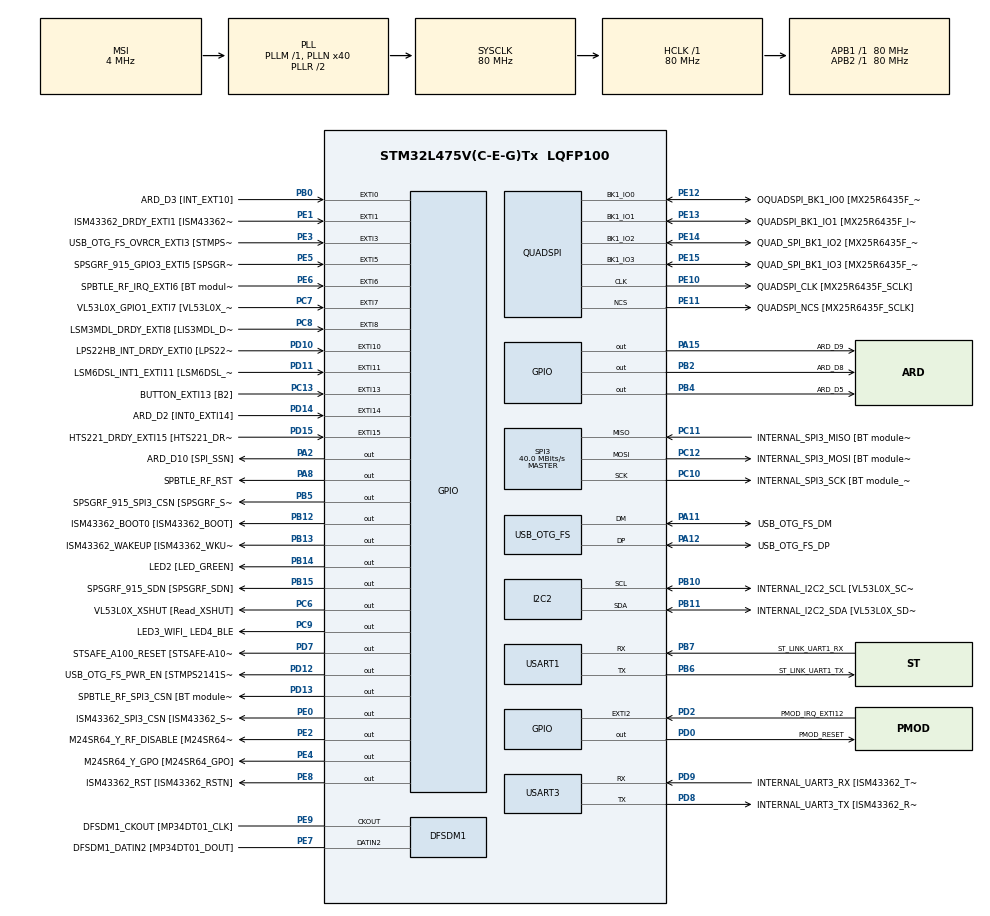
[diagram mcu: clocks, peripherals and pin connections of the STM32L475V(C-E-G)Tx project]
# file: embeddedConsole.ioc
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Mcu.Family=STM32L4
Mcu.Name=STM32L475V(C-E-G)Tx
Mcu.Package=LQFP100
NVIC.EXTI15_10_IRQn=true\:0\:0\:false\:false\:true\:true\:true
NVIC.EXTI9_5_IRQn=true\:0\:0\:false\:false\:true\:true\:true
NVIC.PriorityGroup=NVIC_PRIORITYGROUP_4
PA0.GPIO_Label=ARD_D1 [UART4_TX]
PA0.Signal=UART4_TX
PA1.GPIO_Label=ARD_D0 [UART4_RX]
PA1.Signal=UART4_RX
PA10.GPIO_Label=USB_OTG_FS_ID
PA10.Signal=USB_OTG_FS_ID
PA11.GPIO_Label=USB_OTG_FS_DM
PA11.Mode=Device_Only
PA11.Signal=USB_OTG_FS_DM
PA12.GPIO_Label=USB_OTG_FS_DP
PA12.Mode=Device_Only
PA12.Signal=USB_OTG_FS_DP
PA13\ (JTMS-SWDIO).GPIO_Label=SYS_JTMS_SWDIO
PA13\ (JTMS-SWDIO).Mode=Serial_Wire
PA13\ (JTMS-SWDIO).Signal=SYS_JTMS-SWDIO
PA14\ (JTCK-SWCLK).GPIO_Label=SYS_JTCK_SWCLK
PA14\ (JTCK-SWCLK).Mode=Serial_Wire
PA14\ (JTCK-SWCLK).Signal=SYS_JTCK-SWCLK
PA15\ (JTDI).GPIO_Label=ARD_D9
PA15\ (JTDI).Signal=GPIO_Output
PA2.GPIO_Label=ARD_D10 [SPI_SSN]
PA2.Signal=GPIO_Output
PA3.GPIO_Label=ARD_D4
PA3.Signal=S_TIM2_CH4
PA4.GPIO_Label=ARD_D7
PA4.Signal=ADCx_IN9
PA5.GPIO_Label=ARD_D13 [SPI1_SCK]
PA5.Signal=SPI1_SCK
PA6.GPIO_Label=ARD_D12 [SPI1_MISO]
PA6.Signal=SPI1_MISO
PA7.GPIO_Label=ARD_D11 [SPI1_MOSI]
PA7.Signal=SPI1_MOSI
PA8.GPIO_Label=SPBTLE_RF_RST
PA8.Signal=GPIO_Output
PA9.GPIO_Label=USB_OTG_FS_VBUS [STMPS2141STR_OUT]
PA9.Signal=USB_OTG_FS_VBUS
PB0.GPIO_Label=ARD_D3 [INT_EXT10]
PB0.Signal=GPXTI0
PB1.GPIO_Label=ARD_D6 [ADC1_IN6]
PB1.Signal=ADCx_IN16
PB10.GPIO_Label=INTERNAL_I2C2_SCL [VL53L0X_SCL]
PB10.Mode=I2C
PB10.Signal=I2C2_SCL
PB11.GPIO_Label=INTERNAL_I2C2_SDA [VL53L0X_SDA]
PB11.Mode=I2C
PB11.Signal=I2C2_SDA
PB12.GPIO_Label=ISM43362_BOOT0 [ISM43362_BOOT]
PB12.Signal=GPIO_Output
PB13.GPIO_Label=ISM43362_WAKEUP [ISM43362_WKUP]
PB13.Signal=GPIO_Output
PB14.GPIO_Label=LED2 [LED_GREEN]
PB14.Signal=GPIO_Output
PB15.GPIO_Label=SPSGRF_915_SDN [SPSGRF_SDN]
PB15.Signal=GPIO_Output
PB2.GPIO_Label=ARD_D8
PB2.Signal=GPIO_Output
PB3\ (JTDO-TRACESWO).GPIO_Label=SYS_JTD0_SWO
PB3\ (JTDO-TRACESWO).Signal=SYS_JTDO-SWO
PB4\ (NJTRST).GPIO_Label=ARD_D5
PB4\ (NJTRST).Signal=GPIO_Output
PB5.GPIO_Label=SPSGRF_915_SPI3_CSN [SPSGRF_SPI_CS]
PB5.PinState=GPIO_PIN_SET
PB5.Signal=GPIO_Output
PB6.GPIO_Label=ST_LINK_UART1_TX
PB6.Mode=Asynchronous
PB6.Signal=USART1_TX
PB7.GPIO_Label=ST_LINK_UART1_RX
PB7.Mode=Asynchronous
PB7.Signal=USART1_RX
PB8.GPIO_Label=ARD_D15 [I2C1_SCL]
PB8.Signal=I2C1_SCL
PB9.GPIO_Label=ARD_D14 [I2C1_SDA]
PB9.Signal=I2C1_SDA
PC0.GPIO_Label=ARD_A5 [ADC]
PC0.Signal=ADCx_IN1
PC1.GPIO_Label=ARD_A4 [ADC]
PC1.Signal=ADCx_IN2
PC10.GPIO_Label=INTERNAL_SPI3_SCK [BT module_SPI_SCLK]
PC10.Mode=Full_Duplex_Master
PC10.Signal=SPI3_SCK
PC11.GPIO_Label=INTERNAL_SPI3_MISO [BT module_SPI_MISO]
PC11.Mode=Full_Duplex_Master
PC11.Signal=SPI3_MISO
PC12.GPIO_Label=INTERNAL_SPI3_MOSI [BT module_SPI_MOSI]
PC12.Mode=Full_Duplex_Master
PC12.Signal=SPI3_MOSI
PC13.GPIO_Label=BUTTON_EXTI13 [B2]
PC13.GPIO_ModeDefaultEXTI=GPIO_MODE_IT_FALLING
PC13.Signal=GPXTI13
PC14-OSC32_IN\ (PC14).Mode=LSE-External-Oscillator
PC14-OSC32_IN\ (PC14).Signal=RCC_OSC32_IN
PC15-OSC32_OUT\ (PC15).Mode=LSE-External-Oscillator
PC15-OSC32_OUT\ (PC15).Signal=RCC_OSC32_OUT
PC2.GPIO_Label=ARD_A3 [ADC]
PC2.Signal=ADCx_IN3
PC3.GPIO_Label=ARD_A2 [ADC]
PC3.Signal=ADCx_IN4
PC4.GPIO_Label=ARD_A1 [ADC]
PC4.Signal=ADCx_IN13
PC5.GPIO_Label=ARD_A0 [ADC]
PC5.Signal=ADCx_IN14
PC6.GPIO_Label=VL53L0X_XSHUT [Read_XSHUT]
PC6.Signal=GPIO_Output
PC7.GPIO_Label=VL53L0X_GPIO1_EXTI7 [VL53L0X_GPIO1]
PC7.Signal=GPXTI7
PC8.GPIO_Label=LSM3MDL_DRDY_EXTI8 [LIS3MDL_DRDY]
PC8.Signal=GPXTI8
PC9.GPIO_Label=LED3_WIFI_ LED4_BLE
PC9.Signal=GPIO_Output
PD0.GPIO_Label=PMOD_RESET
PD0.Signal=GPIO_Output
PD1.GPIO_Label=PMOD_SPI2_SCK
PD1.Signal=SPI2_SCK
PD10.GPIO_Label=LPS22HB_INT_DRDY_EXTI0 [LPS22HB_INT_DRDY] 
PD10.Signal=GPXTI10
PD11.GPIO_Label=LSM6DSL_INT1_EXTI11 [LSM6DSL_INT1]
PD11.Signal=GPXTI11
PD12.GPIO_Label=USB_OTG_FS_PWR_EN [STMPS2141STR_EN]
PD12.Signal=GPIO_Output
PD13.GPIO_Label=SPBTLE_RF_SPI3_CSN [BT module_SPI_CS]
PD13.PinState=GPIO_PIN_SET
PD13.Signal=GPIO_Output
PD14.GPIO_Label=ARD_D2 [INT0_EXTI14]
PD14.Signal=GPXTI14
PD15.GPIO_Label=HTS221_DRDY_EXTI15 [HTS221_DRDY]
PD15.Signal=GPXTI15
PD2.GPIO_Label=PMOD_IRQ_EXTI12
PD2.Signal=GPXTI2
PD3.GPIO_Label=PMOD_UART2_CTS
PD3.Signal=USART2_CTS
PD4.GPIO_Label=PMOD_UART2_RTS
PD4.Signal=USART2_RTS
PD5.GPIO_Label=PMOD_UART2_TX
PD5.Signal=USART2_TX
PD6.GPIO_Label=PMOD_UART2_RX
PD6.Signal=USART2_RX
PD7.GPIO_Label=STSAFE_A100_RESET [STSAFE-A100_RESET]
PD7.Signal=GPIO_Output
PD8.GPIO_Label=INTERNAL_UART3_TX [ISM43362_RX]
PD8.Mode=Asynchronous
PD8.Signal=USART3_TX
PD9.GPIO_Label=INTERNAL_UART3_RX [ISM43362_TX]
PD9.Mode=Asynchronous
PD9.Signal=USART3_RX
PE0.GPIO_Label=ISM43362_SPI3_CSN [ISM43362_SSN]
PE0.PinState=GPIO_PIN_SET
PE0.Signal=GPIO_Output
PE1.GPIO_Label=ISM43362_DRDY_EXTI1 [ISM43362_DATARDY]
PE1.Signal=GPXTI1
PE10.GPIO_Label=QUADSPI_CLK [MX25R6435F_SCLK]
PE10.Mode=Single Bank
PE10.Signal=QUADSPI_CLK
PE11.GPIO_Label=QUADSPI_NCS [MX25R6435F_SCLK]
PE11.Mode=Single Bank
PE11.Signal=QUADSPI_NCS
PE12.GPIO_Label=OQUADSPI_BK1_IO0 [MX25R6435F_IO0]
PE12.Mode=Single Bank
PE12.Signal=QUADSPI_BK1_IO0
PE13.GPIO_Label=QUADSPI_BK1_IO1 [MX25R6435F_IO1]
PE13.Mode=Single Bank
PE13.Signal=QUADSPI_BK1_IO1
PE14.GPIO_Label=QUAD_SPI_BK1_IO2 [MX25R6435F_IO2]
PE14.Mode=Single Bank
PE14.Signal=QUADSPI_BK1_IO2
PE15.GPIO_Label=QUAD_SPI_BK1_IO3 [MX25R6435F_IO3]
PE15.Mode=Single Bank
PE15.Signal=QUADSPI_BK1_IO3
PE2.GPIO_Label=M24SR64_Y_RF_DISABLE [M24SR64_RFDIS]
PE2.Signal=GPIO_Output
PE3.GPIO_Label=USB_OTG_FS_OVRCR_EXTI3 [STMPS2141STR_FAULT]
PE3.Signal=GPXTI3
PE4.GPIO_Label=M24SR64_Y_GPO [M24SR64_GPO]
PE4.Signal=GPIO_Output
PE5.GPIO_Label=SPSGRF_915_GPIO3_EXTI5 [SPSGRF_GPIO_3]
PE5.Signal=GPXTI5
PE6.GPIO_Label=SPBTLE_RF_IRQ_EXTI6 [BT module_SPI_IRQ]
PE6.Signal=GPXTI6
PE7.GPIO_Label=DFSDM1_DATIN2 [MP34DT01_DOUT]
PE7.Signal=S_DATAIN2DFSDM1
PE8.GPIO_Label=ISM43362_RST [ISM43362_RSTN]
PE8.Signal=GPIO_Output
PE9.GPIO_Label=DFSDM1_CKOUT [MP34DT01_CLK]
PE9.Signal=S_CKOUTDFSDM1
ProjectManager.HeapSize=0x200
ProjectManager.StackSize=0x400
ProjectManager.TargetToolchain=STM32CubeIDE
RCC.ADCFreq_Value=48000000
RCC.AHBFreq_Value=80000000
RCC.APB1Freq_Value=80000000
RCC.APB1TimFreq_Value=80000000
RCC.APB2Freq_Value=80000000
RCC.APB2TimFreq_Value=80000000
RCC.CortexFreq_Value=80000000
RCC.HCLKFreq_Value=80000000
RCC.HSE_VALUE=8000000
RCC.HSI_VALUE=16000000
RCC.MSI_VALUE=4000000
RCC.PLLN=40
RCC.PLLSAI1N=24
RCC.SYSCLKFreq_VALUE=80000000
RCC.SYSCLKSource=RCC_SYSCLKSOURCE_PLLCLK
RCC.USBFreq_Value=48000000
RCC.VCOOutputFreq_Value=160000000
SH.ADCx_IN1.0=ADC1_IN1
SH.ADCx_IN13.0=ADC1_IN13
SH.ADCx_IN14.0=ADC1_IN14
SH.ADCx_IN16.0=ADC1_IN16
SH.ADCx_IN2.0=ADC1_IN2
SH.ADCx_IN3.0=ADC1_IN3
SH.ADCx_IN4.0=ADC1_IN4
SH.ADCx_IN9.0=ADC1_IN9
SH.S_CKOUTDFSDM1.0=DFSDM1_CKOUT,CKOUT
SH.S_CKOUTDFSDM1.1=DFSDM1_CKOUT,PDM_SPI_Input_from_ch12_and_Internal_Clock
SH.S_DATAIN2DFSDM1.0=DFSDM1_DATIN2,PDM_SPI_Input_from_ch12_and_Internal_Clock
SH.S_TIM2_CH4.0=TIM2_CH4
SPI3.CalculateBaudRate=40.0 MBits/s
SPI3.Direction=SPI_DIRECTION_2LINES
SPI3.Mode=SPI_MODE_MASTER
SPI3.VirtualType=VM_MASTER
USART1.VirtualMode-Asynchronous=VM_ASYNC
USART3.VirtualMode-Asynchronous=VM_ASYNC
USB_OTG_FS.VirtualMode=Device_Only
board=B-L475E-IOT01A

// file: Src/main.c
/* USER CODE BEGIN Header */
/**
  ******************************************************************************
  * @file           : main.c
  * @brief          : Main program body
  ******************************************************************************
  * @attention
  *
  * <h2><center>&copy; Copyright (c) 2019 STMicroelectronics.
  * All rights reserved.</center></h2>
  *
  * This software component is licensed by ST under BSD 3-Clause license,
  * the "License"; You may not use this file except in compliance with the
  * License. You may obtain a copy of the License at:
  *                        opensource.org/licenses/BSD-3-Clause
  *
  ******************************************************************************
  */
/* USER CODE END Header */

#include "main.h"

/* USER CODE BEGIN Includes */
#include <stdio.h>

/* USER CODE END Includes */

DFSDM_Channel_HandleTypeDef hdfsdm1_channel1;

I2C_HandleTypeDef hi2c2;

QSPI_HandleTypeDef hqspi;

SPI_HandleTypeDef hspi3;

UART_HandleTypeDef huart1;
UART_HandleTypeDef huart3;

PCD_HandleTypeDef hpcd_USB_OTG_FS;

void SystemClock_Config(void);
static void MX_GPIO_Init(void);
static void MX_DFSDM1_Init(void);
static void MX_I2C2_Init(void);
static void MX_QUADSPI_Init(void);
static void MX_SPI3_Init(void);
static void MX_USART1_UART_Init(void);
static void MX_USART3_UART_Init(void);
static void MX_USB_OTG_FS_PCD_Init(void);

int main(void)
{

  /* MCU Configuration--------------------------------------------------------*/

  /* Reset of all peripherals, Initializes the Flash interface and the Systick. */
  HAL_Init();

  /* Configure the system clock */
  SystemClock_Config();

  /* Initialize all configured peripherals */
  MX_GPIO_Init();
  MX_DFSDM1_Init();
  MX_I2C2_Init();
  MX_QUADSPI_Init();
  MX_SPI3_Init();
  MX_USART1_UART_Init();
  MX_USART3_UART_Init();
  MX_USB_OTG_FS_PCD_Init();

  /* Infinite loop */
  /* USER CODE BEGIN WHILE */
  while (1)
  {
	  // Prompt for input
	  printf("\nEnter number of times to toggle LED: ");

	  // Get the input
	  int count;
	  scanf("%d", &count);

	  //Toggle the LED
	  count *= 2;  //double count to that LED toggles ON then OFF
	  for(int i=0;i<count;i++) {
		  HAL_GPIO_TogglePin(LED2_GPIO_Port , LED2_Pin);
		  HAL_Delay(1000);
	  }

	/* USER CODE END WHILE */

  }
}

void SystemClock_Config(void)
{
  RCC_OscInitTypeDef RCC_OscInitStruct = {0};
  RCC_ClkInitTypeDef RCC_ClkInitStruct = {0};
  RCC_PeriphCLKInitTypeDef PeriphClkInit = {0};

  /** Configure LSE Drive Capability
  */
  HAL_PWR_EnableBkUpAccess();
  __HAL_RCC_LSEDRIVE_CONFIG(RCC_LSEDRIVE_LOW);
  /** Initializes the CPU, AHB and APB busses clocks
  */
  RCC_OscInitStruct.OscillatorType = RCC_OSCILLATORTYPE_LSE|RCC_OSCILLATORTYPE_MSI;
  RCC_OscInitStruct.LSEState = RCC_LSE_ON;
  RCC_OscInitStruct.MSIState = RCC_MSI_ON;
  RCC_OscInitStruct.MSICalibrationValue = 0;
  RCC_OscInitStruct.MSIClockRange = RCC_MSIRANGE_6;
  RCC_OscInitStruct.PLL.PLLState = RCC_PLL_ON;
  RCC_OscInitStruct.PLL.PLLSource = RCC_PLLSOURCE_MSI;
  RCC_OscInitStruct.PLL.PLLM = 1;
  RCC_OscInitStruct.PLL.PLLN = 40;
  RCC_OscInitStruct.PLL.PLLP = RCC_PLLP_DIV7;
  RCC_OscInitStruct.PLL.PLLQ = RCC_PLLQ_DIV2;
  RCC_OscInitStruct.PLL.PLLR = RCC_PLLR_DIV2;
  if (HAL_RCC_OscConfig(&RCC_OscInitStruct) != HAL_OK)
  {
    Error_Handler();
  }
  /** Initializes the CPU, AHB and APB busses clocks
  */
  RCC_ClkInitStruct.ClockType = RCC_CLOCKTYPE_HCLK|RCC_CLOCKTYPE_SYSCLK
                              |RCC_CLOCKTYPE_PCLK1|RCC_CLOCKTYPE_PCLK2;
  RCC_ClkInitStruct.SYSCLKSource = RCC_SYSCLKSOURCE_PLLCLK;
  RCC_ClkInitStruct.AHBCLKDivider = RCC_SYSCLK_DIV1;
  RCC_ClkInitStruct.APB1CLKDivider = RCC_HCLK_DIV1;
  RCC_ClkInitStruct.APB2CLKDivider = RCC_HCLK_DIV1;

  if (HAL_RCC_ClockConfig(&RCC_ClkInitStruct, FLASH_LATENCY_4) != HAL_OK)
  {
    Error_Handler();
  }
  PeriphClkInit.PeriphClockSelection = RCC_PERIPHCLK_USART1|RCC_PERIPHCLK_USART3
                              |RCC_PERIPHCLK_I2C2|RCC_PERIPHCLK_DFSDM1
                              |RCC_PERIPHCLK_USB;
  PeriphClkInit.Usart1ClockSelection = RCC_USART1CLKSOURCE_PCLK2;
  PeriphClkInit.Usart3ClockSelection = RCC_USART3CLKSOURCE_PCLK1;
  PeriphClkInit.I2c2ClockSelection = RCC_I2C2CLKSOURCE_PCLK1;
  PeriphClkInit.Dfsdm1ClockSelection = RCC_DFSDM1CLKSOURCE_PCLK;
  PeriphClkInit.UsbClockSelection = RCC_USBCLKSOURCE_PLLSAI1;
  PeriphClkInit.PLLSAI1.PLLSAI1Source = RCC_PLLSOURCE_MSI;
  PeriphClkInit.PLLSAI1.PLLSAI1M = 1;
  PeriphClkInit.PLLSAI1.PLLSAI1N = 24;
  PeriphClkInit.PLLSAI1.PLLSAI1P = RCC_PLLP_DIV7;
  PeriphClkInit.PLLSAI1.PLLSAI1Q = RCC_PLLQ_DIV2;
  PeriphClkInit.PLLSAI1.PLLSAI1R = RCC_PLLR_DIV2;
  PeriphClkInit.PLLSAI1.PLLSAI1ClockOut = RCC_PLLSAI1_48M2CLK;
  if (HAL_RCCEx_PeriphCLKConfig(&PeriphClkInit) != HAL_OK)
  {
    Error_Handler();
  }
  /** Configure the main internal regulator output voltage
  */
  if (HAL_PWREx_ControlVoltageScaling(PWR_REGULATOR_VOLTAGE_SCALE1) != HAL_OK)
  {
    Error_Handler();
  }
  /** Enable MSI Auto calibration
  */
  HAL_RCCEx_EnableMSIPLLMode();
}

static void MX_DFSDM1_Init(void)
{

  hdfsdm1_channel1.Instance = DFSDM1_Channel1;
  hdfsdm1_channel1.Init.OutputClock.Activation = ENABLE;
  hdfsdm1_channel1.Init.OutputClock.Selection = DFSDM_CHANNEL_OUTPUT_CLOCK_SYSTEM;
  hdfsdm1_channel1.Init.OutputClock.Divider = 2;
  hdfsdm1_channel1.Init.Input.Multiplexer = DFSDM_CHANNEL_EXTERNAL_INPUTS;
  hdfsdm1_channel1.Init.Input.DataPacking = DFSDM_CHANNEL_STANDARD_MODE;
  hdfsdm1_channel1.Init.Input.Pins = DFSDM_CHANNEL_FOLLOWING_CHANNEL_PINS;
  hdfsdm1_channel1.Init.SerialInterface.Type = DFSDM_CHANNEL_SPI_RISING;
  hdfsdm1_channel1.Init.SerialInterface.SpiClock = DFSDM_CHANNEL_SPI_CLOCK_INTERNAL;
  hdfsdm1_channel1.Init.Awd.FilterOrder = DFSDM_CHANNEL_FASTSINC_ORDER;
  hdfsdm1_channel1.Init.Awd.Oversampling = 1;
  hdfsdm1_channel1.Init.Offset = 0;
  hdfsdm1_channel1.Init.RightBitShift = 0x00;
  if (HAL_DFSDM_ChannelInit(&hdfsdm1_channel1) != HAL_OK)
  {
    Error_Handler();
  }

}

static void MX_I2C2_Init(void)
{

  hi2c2.Instance = I2C2;
  hi2c2.Init.Timing = 0x10909CEC;
  hi2c2.Init.OwnAddress1 = 0;
  hi2c2.Init.AddressingMode = I2C_ADDRESSINGMODE_7BIT;
  hi2c2.Init.DualAddressMode = I2C_DUALADDRESS_DISABLE;
  hi2c2.Init.OwnAddress2 = 0;
  hi2c2.Init.OwnAddress2Masks = I2C_OA2_NOMASK;
  hi2c2.Init.GeneralCallMode = I2C_GENERALCALL_DISABLE;
  hi2c2.Init.NoStretchMode = I2C_NOSTRETCH_DISABLE;
  if (HAL_I2C_Init(&hi2c2) != HAL_OK)
  {
    Error_Handler();
  }
  /** Configure Analogue filter
  */
  if (HAL_I2CEx_ConfigAnalogFilter(&hi2c2, I2C_ANALOGFILTER_ENABLE) != HAL_OK)
  {
    Error_Handler();
  }
  /** Configure Digital filter
  */
  if (HAL_I2CEx_ConfigDigitalFilter(&hi2c2, 0) != HAL_OK)
  {
    Error_Handler();
  }

}

static void MX_QUADSPI_Init(void)
{

  /* QUADSPI parameter configuration*/
  hqspi.Instance = QUADSPI;
  hqspi.Init.ClockPrescaler = 255;
  hqspi.Init.FifoThreshold = 1;
  hqspi.Init.SampleShifting = QSPI_SAMPLE_SHIFTING_NONE;
  hqspi.Init.FlashSize = 1;
  hqspi.Init.ChipSelectHighTime = QSPI_CS_HIGH_TIME_1_CYCLE;
  hqspi.Init.ClockMode = QSPI_CLOCK_MODE_0;
  if (HAL_QSPI_Init(&hqspi) != HAL_OK)
  {
    Error_Handler();
  }

}

static void MX_SPI3_Init(void)
{

  /* SPI3 parameter configuration*/
  hspi3.Instance = SPI3;
  hspi3.Init.Mode = SPI_MODE_MASTER;
  hspi3.Init.Direction = SPI_DIRECTION_2LINES;
  hspi3.Init.DataSize = SPI_DATASIZE_4BIT;
  hspi3.Init.CLKPolarity = SPI_POLARITY_LOW;
  hspi3.Init.CLKPhase = SPI_PHASE_1EDGE;
  hspi3.Init.NSS = SPI_NSS_SOFT;
  hspi3.Init.BaudRatePrescaler = SPI_BAUDRATEPRESCALER_2;
  hspi3.Init.FirstBit = SPI_FIRSTBIT_MSB;
  hspi3.Init.TIMode = SPI_TIMODE_DISABLE;
  hspi3.Init.CRCCalculation = SPI_CRCCALCULATION_DISABLE;
  hspi3.Init.CRCPolynomial = 7;
  hspi3.Init.CRCLength = SPI_CRC_LENGTH_DATASIZE;
  hspi3.Init.NSSPMode = SPI_NSS_PULSE_ENABLE;
  if (HAL_SPI_Init(&hspi3) != HAL_OK)
  {
    Error_Handler();
  }

}

static void MX_USART1_UART_Init(void)
{

  huart1.Instance = USART1;
  huart1.Init.BaudRate = 115200;
  huart1.Init.WordLength = UART_WORDLENGTH_8B;
  huart1.Init.StopBits = UART_STOPBITS_1;
  huart1.Init.Parity = UART_PARITY_NONE;
  huart1.Init.Mode = UART_MODE_TX_RX;
  huart1.Init.HwFlowCtl = UART_HWCONTROL_NONE;
  huart1.Init.OverSampling = UART_OVERSAMPLING_16;
  huart1.Init.OneBitSampling = UART_ONE_BIT_SAMPLE_DISABLE;
  huart1.AdvancedInit.AdvFeatureInit = UART_ADVFEATURE_NO_INIT;
  if (HAL_UART_Init(&huart1) != HAL_OK)
  {
    Error_Handler();
  }

}

static void MX_USART3_UART_Init(void)
{

  huart3.Instance = USART3;
  huart3.Init.BaudRate = 115200;
  huart3.Init.WordLength = UART_WORDLENGTH_8B;
  huart3.Init.StopBits = UART_STOPBITS_1;
  huart3.Init.Parity = UART_PARITY_NONE;
  huart3.Init.Mode = UART_MODE_TX_RX;
  huart3.Init.HwFlowCtl = UART_HWCONTROL_NONE;
  huart3.Init.OverSampling = UART_OVERSAMPLING_16;
  huart3.Init.OneBitSampling = UART_ONE_BIT_SAMPLE_DISABLE;
  huart3.AdvancedInit.AdvFeatureInit = UART_ADVFEATURE_NO_INIT;
  if (HAL_UART_Init(&huart3) != HAL_OK)
  {
    Error_Handler();
  }

}

static void MX_USB_OTG_FS_PCD_Init(void)
{

  hpcd_USB_OTG_FS.Instance = USB_OTG_FS;
  hpcd_USB_OTG_FS.Init.dev_endpoints = 6;
  hpcd_USB_OTG_FS.Init.speed = PCD_SPEED_FULL;
  hpcd_USB_OTG_FS.Init.phy_itface = PCD_PHY_EMBEDDED;
  hpcd_USB_OTG_FS.Init.Sof_enable = DISABLE;
  hpcd_USB_OTG_FS.Init.low_power_enable = DISABLE;
  hpcd_USB_OTG_FS.Init.lpm_enable = DISABLE;
  hpcd_USB_OTG_FS.Init.battery_charging_enable = DISABLE;
  hpcd_USB_OTG_FS.Init.use_dedicated_ep1 = DISABLE;
  hpcd_USB_OTG_FS.Init.vbus_sensing_enable = DISABLE;
  if (HAL_PCD_Init(&hpcd_USB_OTG_FS) != HAL_OK)
  {
    Error_Handler();
  }

}

static void MX_GPIO_Init(void)
{
  GPIO_InitTypeDef GPIO_InitStruct = {0};

  /* GPIO Ports Clock Enable */
  __HAL_RCC_GPIOE_CLK_ENABLE();
  __HAL_RCC_GPIOC_CLK_ENABLE();
  __HAL_RCC_GPIOA_CLK_ENABLE();
  __HAL_RCC_GPIOB_CLK_ENABLE();
  __HAL_RCC_GPIOD_CLK_ENABLE();

  /*Configure GPIO pin Output Level */
  HAL_GPIO_WritePin(GPIOE, M24SR64_Y_RF_DISABLE_Pin|M24SR64_Y_GPO_Pin|ISM43362_RST_Pin, GPIO_PIN_RESET);

  /*Configure GPIO pin Output Level */
  HAL_GPIO_WritePin(GPIOA, ARD_D10_Pin|SPBTLE_RF_RST_Pin|ARD_D9_Pin, GPIO_PIN_RESET);

  /*Configure GPIO pin Output Level */
  HAL_GPIO_WritePin(GPIOB, ARD_D8_Pin|ISM43362_BOOT0_Pin|ISM43362_WAKEUP_Pin|LED2_Pin
                          |SPSGRF_915_SDN_Pin|ARD_D5_Pin, GPIO_PIN_RESET);

  /*Configure GPIO pin Output Level */
  HAL_GPIO_WritePin(GPIOD, USB_OTG_FS_PWR_EN_Pin|PMOD_RESET_Pin|STSAFE_A100_RESET_Pin, GPIO_PIN_RESET);

  /*Configure GPIO pin Output Level */
  HAL_GPIO_WritePin(SPBTLE_RF_SPI3_CSN_GPIO_Port, SPBTLE_RF_SPI3_CSN_Pin, GPIO_PIN_SET);

  /*Configure GPIO pin Output Level */
  HAL_GPIO_WritePin(GPIOC, VL53L0X_XSHUT_Pin|LED3_WIFI__LED4_BLE_Pin, GPIO_PIN_RESET);

  /*Configure GPIO pin Output Level */
  HAL_GPIO_WritePin(SPSGRF_915_SPI3_CSN_GPIO_Port, SPSGRF_915_SPI3_CSN_Pin, GPIO_PIN_SET);

  /*Configure GPIO pin Output Level */
  HAL_GPIO_WritePin(ISM43362_SPI3_CSN_GPIO_Port, ISM43362_SPI3_CSN_Pin, GPIO_PIN_SET);

  /*Configure GPIO pins : M24SR64_Y_RF_DISABLE_Pin M24SR64_Y_GPO_Pin ISM43362_RST_Pin ISM43362_SPI3_CSN_Pin */
  GPIO_InitStruct.Pin = M24SR64_Y_RF_DISABLE_Pin|M24SR64_Y_GPO_Pin|ISM43362_RST_Pin|ISM43362_SPI3_CSN_Pin;
  GPIO_InitStruct.Mode = GPIO_MODE_OUTPUT_PP;
  GPIO_InitStruct.Pull = GPIO_NOPULL;
  GPIO_InitStruct.Speed = GPIO_SPEED_FREQ_LOW;
  HAL_GPIO_Init(GPIOE, &GPIO_InitStruct);

  /*Configure GPIO pins : USB_OTG_FS_OVRCR_EXTI3_Pin SPSGRF_915_GPIO3_EXTI5_Pin SPBTLE_RF_IRQ_EXTI6_Pin ISM43362_DRDY_EXTI1_Pin */
  GPIO_InitStruct.Pin = USB_OTG_FS_OVRCR_EXTI3_Pin|SPSGRF_915_GPIO3_EXTI5_Pin|SPBTLE_RF_IRQ_EXTI6_Pin|ISM43362_DRDY_EXTI1_Pin;
  GPIO_InitStruct.Mode = GPIO_MODE_IT_RISING;
  GPIO_InitStruct.Pull = GPIO_NOPULL;
  HAL_GPIO_Init(GPIOE, &GPIO_InitStruct);

  /*Configure GPIO pin : BUTTON_EXTI13_Pin */
  GPIO_InitStruct.Pin = BUTTON_EXTI13_Pin;
  GPIO_InitStruct.Mode = GPIO_MODE_IT_FALLING;
  GPIO_InitStruct.Pull = GPIO_NOPULL;
  HAL_GPIO_Init(BUTTON_EXTI13_GPIO_Port, &GPIO_InitStruct);

  /*Configure GPIO pins : ARD_A5_Pin ARD_A4_Pin ARD_A3_Pin ARD_A2_Pin
                           ARD_A1_Pin ARD_A0_Pin */
  GPIO_InitStruct.Pin = ARD_A5_Pin|ARD_A4_Pin|ARD_A3_Pin|ARD_A2_Pin
                          |ARD_A1_Pin|ARD_A0_Pin;
  GPIO_InitStruct.Mode = GPIO_MODE_ANALOG_ADC_CONTROL;
  GPIO_InitStruct.Pull = GPIO_NOPULL;
  HAL_GPIO_Init(GPIOC, &GPIO_InitStruct);

  /*Configure GPIO pins : ARD_D1_Pin ARD_D0_Pin */
  GPIO_InitStruct.Pin = ARD_D1_Pin|ARD_D0_Pin;
  GPIO_InitStruct.Mode = GPIO_MODE_AF_PP;
  GPIO_InitStruct.Pull = GPIO_NOPULL;
  GPIO_InitStruct.Speed = GPIO_SPEED_FREQ_VERY_HIGH;
  GPIO_InitStruct.Alternate = GPIO_AF8_UART4;
  HAL_GPIO_Init(GPIOA, &GPIO_InitStruct);

  /*Configure GPIO pins : ARD_D10_Pin SPBTLE_RF_RST_Pin ARD_D9_Pin */
  GPIO_InitStruct.Pin = ARD_D10_Pin|SPBTLE_RF_RST_Pin|ARD_D9_Pin;
  GPIO_InitStruct.Mode = GPIO_MODE_OUTPUT_PP;
  GPIO_InitStruct.Pull = GPIO_NOPULL;
  GPIO_InitStruct.Speed = GPIO_SPEED_FREQ_LOW;
  HAL_GPIO_Init(GPIOA, &GPIO_InitStruct);

  /*Configure GPIO pin : ARD_D4_Pin */
  GPIO_InitStruct.Pin = ARD_D4_Pin;
  GPIO_InitStruct.Mode = GPIO_MODE_AF_PP;
  GPIO_InitStruct.Pull = GPIO_NOPULL;
  GPIO_InitStruct.Speed = GPIO_SPEED_FREQ_LOW;
  GPIO_InitStruct.Alternate = GPIO_AF1_TIM2;
  HAL_GPIO_Init(ARD_D4_GPIO_Port, &GPIO_InitStruct);

  /*Configure GPIO pin : ARD_D7_Pin */
  GPIO_InitStruct.Pin = ARD_D7_Pin;
  GPIO_InitStruct.Mode = GPIO_MODE_ANALOG_ADC_CONTROL;
  GPIO_InitStruct.Pull = GPIO_NOPULL;
  HAL_GPIO_Init(ARD_D7_GPIO_Port, &GPIO_InitStruct);

  /*Configure GPIO pins : ARD_D13_Pin ARD_D12_Pin ARD_D11_Pin */
  GPIO_InitStruct.Pin = ARD_D13_Pin|ARD_D12_Pin|ARD_D11_Pin;
  GPIO_InitStruct.Mode = GPIO_MODE_AF_PP;
  GPIO_InitStruct.Pull = GPIO_NOPULL;
  GPIO_InitStruct.Speed = GPIO_SPEED_FREQ_VERY_HIGH;
  GPIO_InitStruct.Alternate = GPIO_AF5_SPI1;
  HAL_GPIO_Init(GPIOA, &GPIO_InitStruct);

  /*Configure GPIO pin : ARD_D3_Pin */
  GPIO_InitStruct.Pin = ARD_D3_Pin;
  GPIO_InitStruct.Mode = GPIO_MODE_IT_RISING;
  GPIO_InitStruct.Pull = GPIO_NOPULL;
  HAL_GPIO_Init(ARD_D3_GPIO_Port, &GPIO_InitStruct);

  /*Configure GPIO pin : ARD_D6_Pin */
  GPIO_InitStruct.Pin = ARD_D6_Pin;
  GPIO_InitStruct.Mode = GPIO_MODE_ANALOG_ADC_CONTROL;
  GPIO_InitStruct.Pull = GPIO_NOPULL;
  HAL_GPIO_Init(ARD_D6_GPIO_Port, &GPIO_InitStruct);

  /*Configure GPIO pins : ARD_D8_Pin ISM43362_BOOT0_Pin ISM43362_WAKEUP_Pin LED2_Pin
                           SPSGRF_915_SDN_Pin ARD_D5_Pin SPSGRF_915_SPI3_CSN_Pin */
  GPIO_InitStruct.Pin = ARD_D8_Pin|ISM43362_BOOT0_Pin|ISM43362_WAKEUP_Pin|LED2_Pin
                          |SPSGRF_915_SDN_Pin|ARD_D5_Pin|SPSGRF_915_SPI3_CSN_Pin;
  GPIO_InitStruct.Mode = GPIO_MODE_OUTPUT_PP;
  GPIO_InitStruct.Pull = GPIO_NOPULL;
  GPIO_InitStruct.Speed = GPIO_SPEED_FREQ_LOW;
  HAL_GPIO_Init(GPIOB, &GPIO_InitStruct);

  /*Configure GPIO pins : LPS22HB_INT_DRDY_EXTI0_Pin LSM6DSL_INT1_EXTI11_Pin ARD_D2_Pin HTS221_DRDY_EXTI15_Pin
                           PMOD_IRQ_EXTI12_Pin */
  GPIO_InitStruct.Pin = LPS22HB_INT_DRDY_EXTI0_Pin|LSM6DSL_INT1_EXTI11_Pin|ARD_D2_Pin|HTS221_DRDY_EXTI15_Pin
                          |PMOD_IRQ_EXTI12_Pin;
  GPIO_InitStruct.Mode = GPIO_MODE_IT_RISING;
  GPIO_InitStruct.Pull = GPIO_NOPULL;
  HAL_GPIO_Init(GPIOD, &GPIO_InitStruct);

  /*Configure GPIO pins : USB_OTG_FS_PWR_EN_Pin SPBTLE_RF_SPI3_CSN_Pin PMOD_RESET_Pin STSAFE_A100_RESET_Pin */
  GPIO_InitStruct.Pin = USB_OTG_FS_PWR_EN_Pin|SPBTLE_RF_SPI3_CSN_Pin|PMOD_RESET_Pin|STSAFE_A100_RESET_Pin;
  GPIO_InitStruct.Mode = GPIO_MODE_OUTPUT_PP;
  GPIO_InitStruct.Pull = GPIO_NOPULL;
  GPIO_InitStruct.Speed = GPIO_SPEED_FREQ_LOW;
  HAL_GPIO_Init(GPIOD, &GPIO_InitStruct);

  /*Configure GPIO pins : VL53L0X_XSHUT_Pin LED3_WIFI__LED4_BLE_Pin */
  GPIO_InitStruct.Pin = VL53L0X_XSHUT_Pin|LED3_WIFI__LED4_BLE_Pin;
  GPIO_InitStruct.Mode = GPIO_MODE_OUTPUT_PP;
  GPIO_InitStruct.Pull = GPIO_NOPULL;
  GPIO_InitStruct.Speed = GPIO_SPEED_FREQ_LOW;
  HAL_GPIO_Init(GPIOC, &GPIO_InitStruct);

  /*Configure GPIO pins : VL53L0X_GPIO1_EXTI7_Pin LSM3MDL_DRDY_EXTI8_Pin */
  GPIO_InitStruct.Pin = VL53L0X_GPIO1_EXTI7_Pin|LSM3MDL_DRDY_EXTI8_Pin;
  GPIO_InitStruct.Mode = GPIO_MODE_IT_RISING;
  GPIO_InitStruct.Pull = GPIO_NOPULL;
  HAL_GPIO_Init(GPIOC, &GPIO_InitStruct);

  /*Configure GPIO pin : PMOD_SPI2_SCK_Pin */
  GPIO_InitStruct.Pin = PMOD_SPI2_SCK_Pin;
  GPIO_InitStruct.Mode = GPIO_MODE_AF_PP;
  GPIO_InitStruct.Pull = GPIO_NOPULL;
  GPIO_InitStruct.Speed = GPIO_SPEED_FREQ_VERY_HIGH;
  GPIO_InitStruct.Alternate = GPIO_AF5_SPI2;
  HAL_GPIO_Init(PMOD_SPI2_SCK_GPIO_Port, &GPIO_InitStruct);

  /*Configure GPIO pins : PMOD_UART2_CTS_Pin PMOD_UART2_RTS_Pin PMOD_UART2_TX_Pin PMOD_UART2_RX_Pin */
  GPIO_InitStruct.Pin = PMOD_UART2_CTS_Pin|PMOD_UART2_RTS_Pin|PMOD_UART2_TX_Pin|PMOD_UART2_RX_Pin;
  GPIO_InitStruct.Mode = GPIO_MODE_AF_PP;
  GPIO_InitStruct.Pull = GPIO_NOPULL;
  GPIO_InitStruct.Speed = GPIO_SPEED_FREQ_VERY_HIGH;
  GPIO_InitStruct.Alternate = GPIO_AF7_USART2;
  HAL_GPIO_Init(GPIOD, &GPIO_InitStruct);

  /*Configure GPIO pins : ARD_D15_Pin ARD_D14_Pin */
  GPIO_InitStruct.Pin = ARD_D15_Pin|ARD_D14_Pin;
  GPIO_InitStruct.Mode = GPIO_MODE_AF_OD;
  GPIO_InitStruct.Pull = GPIO_PULLUP;
  GPIO_InitStruct.Speed = GPIO_SPEED_FREQ_VERY_HIGH;
  GPIO_InitStruct.Alternate = GPIO_AF4_I2C1;
  HAL_GPIO_Init(GPIOB, &GPIO_InitStruct);

  /* EXTI interrupt init*/
  HAL_NVIC_SetPriority(EXTI9_5_IRQn, 0, 0);
  HAL_NVIC_EnableIRQ(EXTI9_5_IRQn);

  HAL_NVIC_SetPriority(EXTI15_10_IRQn, 0, 0);
  HAL_NVIC_EnableIRQ(EXTI15_10_IRQn);

}

/* USER CODE BEGIN 4 */

int __io_putchar(int ch) {
	HAL_UART_Transmit(&huart1, (uint8_t*)&ch, sizeof(uint8_t), HAL_MAX_DELAY);
	return (ch);
}
int __io_getchar(void) {
	uint8_t ch;
	HAL_UART_Receive(&huart1, &ch, sizeof(ch), HAL_MAX_DELAY);
	HAL_UART_Transmit(&huart1, &ch, sizeof(ch), HAL_MAX_DELAY);
	return (ch);
}

/* USER CODE END 4 */

void Error_Handler(void)
{
}

/************************ (C) COPYRIGHT STMicroelectronics *****END OF FILE****/
